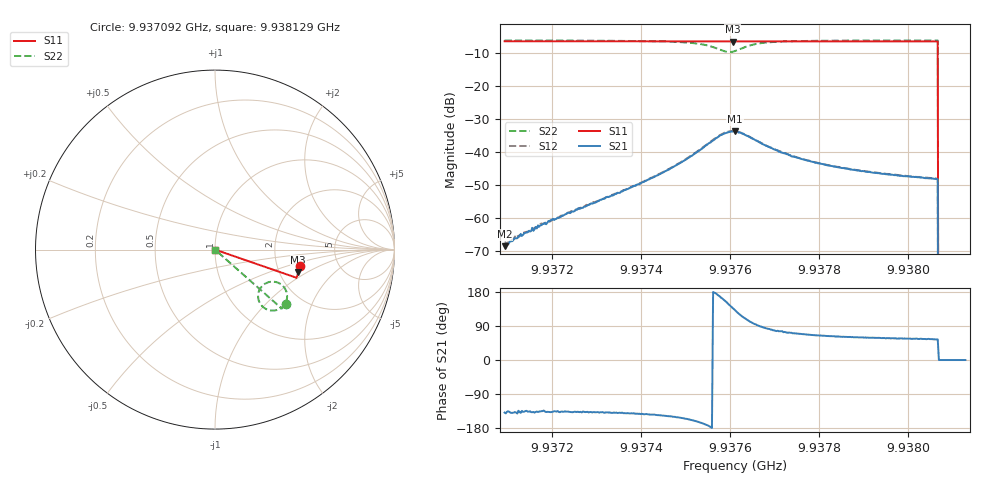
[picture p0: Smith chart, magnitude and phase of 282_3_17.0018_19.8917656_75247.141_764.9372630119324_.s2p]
#  HZ  S  RI  R  50.00
! Rohde & Schwarz Vector Network Analyzer
! Rohde-Schwarz,ZNB20-2Port,1311601062101988,3.16
! Created: UTC 3/20/2024, 11:04:45 PM
! freq[Hz]  re:S11  im:S11  re:S21  im:S21  re:S12  im:S12  re:S22  im:S22
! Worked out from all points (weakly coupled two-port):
!   401 points, 9.937092 GHz to 9.938129 GHz, reference 50 ohm
!   highest |S21| = -33.68 dB at 9.937611 GHz (marker M1); lowest = -68.5 dB at 9.937092 GHz (marker M2)
!   lowest |S11| = -6.4 dB at 9.937605 GHz (marker M3), VSWR 2.84, Z = 126 - j41.5 ohm
!   |S11| at or under -10 dB: 9.938067 GHz to end of sweep
!   |S22| runs from - to -6.1 dB; largest |S21 - S12| = 0.00096
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9.9370923e9  0.4753 -0.0935  -0.000284 -0.000248  -0.000337 -0.000269  0.3929 -0.3051
9.9371026e9  0.475 -0.0943  -0.00031 -0.000293  -0.000329 -0.000287  0.3922 -0.3059
9.9371337e9  0.4745 -0.0965  -0.000409 -0.000383  -0.000419 -0.000356  0.39 -0.308
9.9371752e9  0.4737 -0.0992  -0.000555 -0.000554  -0.000604 -0.000572  0.3866 -0.3111
9.9371959e9  0.4733 -0.1007  -0.000691 -0.000631  -0.000643 -0.000633  0.3848 -0.3127
9.9372659e9  0.4721 -0.1054  -0.00107 -0.000955  -0.00108 -0.000969  0.3781 -0.3187
9.9373696e9  0.4698 -0.1123  -0.00214 -0.00178  -0.00218 -0.00177  0.3634 -0.3285
9.9374396e9  0.4683 -0.1171  -0.0038 -0.00261  -0.00393 -0.00258  0.3457 -0.3362
9.9374966e9  0.4667 -0.121  -0.00677 -0.00325  -0.00694 -0.00322  0.3183 -0.3398
9.9375433e9  0.465 -0.1241  -0.0123 -0.00221  -0.0124 -0.00201  0.2746 -0.3254
9.9375821e9  0.4634 -0.1258  -0.0177 0.00569  -0.018 0.00627  0.2402 -0.2545
9.9376055e9  0.4628 -0.1263  -0.015 0.0142  -0.0149 0.0149  0.2745 -0.193
9.9376106e9  0.4629 -0.1265  -0.0137 0.0155  -0.0133 0.0162  0.2889 -0.1851
9.9376288e9  0.4632 -0.1274  -0.00753 0.0175  -0.00717 0.0179  0.3394 -0.1805
9.9376651e9  0.4634 -0.1299  8.62e-05 0.0142  0.000388 0.0143  0.3913 -0.2197
9.9377143e9  0.4627 -0.1335  0.00247 0.00963  0.00289 0.00976  0.4018 -0.2616
9.9377843e9  0.4612 -0.1385  0.00294 0.00657  0.00307 0.00655  0.3963 -0.2902
9.9378698e9  0.4592 -0.1442  0.00268 0.0048  0.00283 0.00481  0.3878 -0.3078
9.937958e9  0.4567 -0.1499  0.00246 0.00388  0.00261 0.00389  0.3803 -0.3187
9.9380616e9  0.4542 -0.1567  0.00228 0.00322  0.00239 0.00324  0.3725 -0.3283
9.9380746e9  0 0  0 0  0 0  0 0
9.938129e9  0 0  0 0  0 0  0 0
